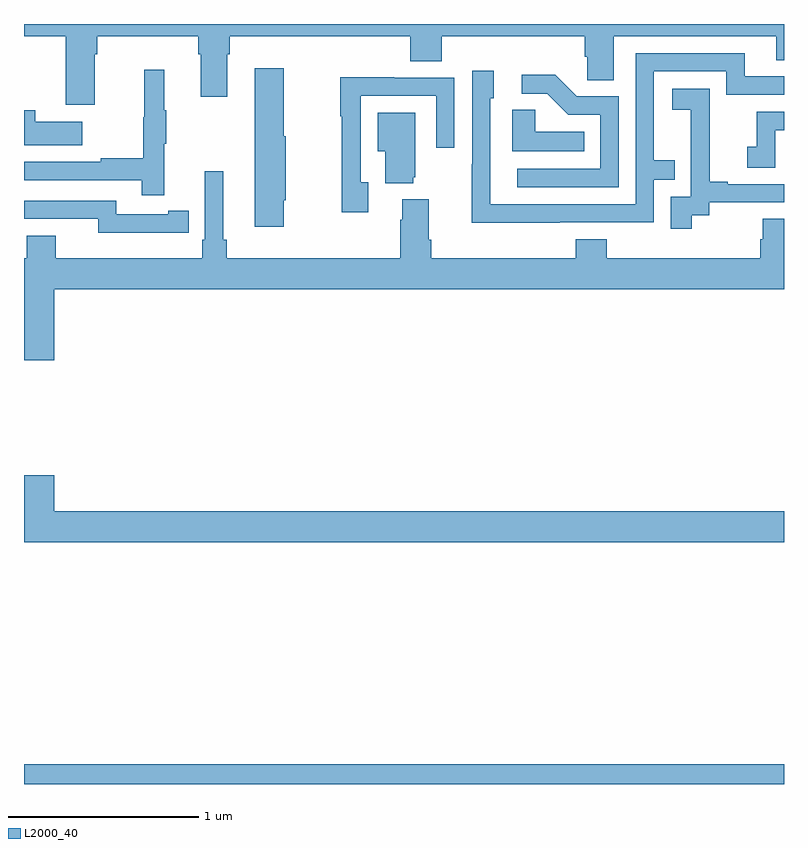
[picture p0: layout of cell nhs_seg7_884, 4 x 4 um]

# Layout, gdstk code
import gdstk
lib = gdstk.Library(unit=1e-6, precision=1e-09)
def R(c, l, rs):  # rectangles x0, y0, x1, y1
    for r in rs: c.add(gdstk.rectangle(r[:2], r[2:], *l))
def P(c, l, *ps):  # polygons
    for p in ps: c.add(gdstk.Polygon(p, *l))
L2000_40 = (2000, 40)

nhs_seg7_884 = lib.new_cell('nhs_seg7_884')
R(nhs_seg7_884, L2000_40, [(177,1010,181,1010.104)])
P(nhs_seg7_884, L2000_40, [(180.959,1013.809),(181,1013.809),(181,1014),(177,1014),(177,1013.936),(177.221,1013.936),(177.221,1013.574),(177.373,1013.574),(177.373,1013.84),(177.386,1013.84),(177.386,1013.936),(177.917,1013.936),(177.917,1013.84),(177.929,1013.84),(177.929,1013.616),(178.069,1013.616),(178.069,1013.84),(178.082,1013.84),(178.082,1013.936),(179.033,1013.936),(179.033,1013.803),(179.198,1013.803),(179.198,1013.936),(179.951,1013.936),(179.951,1013.827),(179.964,1013.827),(179.964,1013.704),(180.103,1013.704),(180.103,1013.936),(180.959,1013.936)],
  [(179.819,1012.956),(180.315,1012.956),(180.315,1013.181),(180.425,1013.181),(180.425,1013.282),(180.315,1013.282),(180.315,1013.751),(180.696,1013.751),(180.696,1013.628),(181,1013.628),(181,1013.724),(180.793,1013.724),(180.793,1013.847),(180.219,1013.847),(180.219,1013.052),(179.454,1013.052),(179.454,1013.61),(179.473,1013.61),(179.473,1013.755),(179.358,1013.755),(179.358,1013.261),(179.356,1013.261),(179.356,1012.955),(179.819,1012.955)],
  [(178.368,1013.073),(178.378,1013.073),(178.378,1013.409),(178.368,1013.409),(178.368,1013.767),(178.214,1013.767),(178.214,1012.932),(178.368,1012.932)],
  [(177.737,1013.371),(177.748,1013.371),(177.748,1013.545),(177.737,1013.545),(177.737,1013.758),(177.634,1013.758),(177.634,1013.508),(177.627,1013.508),(177.627,1013.294),(177.403,1013.294),(177.403,1013.274),(177,1013.274),(177,1013.178),(177.619,1013.178),(177.619,1013.1),(177.737,1013.1)],
  [(180.129,1013.619),(179.91,1013.619),(179.797,1013.732),(179.619,1013.732),(179.619,1013.634),(179.753,1013.634),(179.864,1013.523),(180.033,1013.523),(180.033,1013.238),(179.595,1013.238),(179.595,1013.142),(180.129,1013.142)],
  [(178.813,1013.166),(178.773,1013.166),(178.773,1013.622),(179.169,1013.622),(179.169,1013.349),(179.265,1013.349),(179.265,1013.718),(178.949,1013.718),(178.949,1013.72),(178.665,1013.72),(178.665,1013.515),(178.672,1013.515),(178.672,1013.01),(178.813,1013.01)],
  [(180.514,1012.993),(180.606,1012.993),(180.606,1013.061),(181,1013.061),(181,1013.157),(180.703,1013.157),(180.703,1013.17),(180.608,1013.17),(180.608,1013.453),(180.609,1013.453),(180.609,1013.659),(180.411,1013.659),(180.411,1013.549),(180.509,1013.549),(180.509,1013.321),(180.51,1013.321),(180.51,1013.091),(180.405,1013.091),(180.405,1012.923),(180.514,1012.923)],
  [(179.948,1013.434),(179.691,1013.434),(179.691,1013.549),(179.57,1013.549),(179.57,1013.33),(179.948,1013.33)],
  [(177.307,1013.485),(177.059,1013.485),(177.059,1013.545),(177,1013.545),(177,1013.363),(177.307,1013.363)],
  [(180.954,1013.442),(181,1013.442),(181,1013.538),(180.856,1013.538),(180.856,1013.353),(180.807,1013.353),(180.807,1013.244),(180.954,1013.244)],
  [(179.048,1013.193),(179.059,1013.193),(179.059,1013.533),(178.862,1013.533),(178.862,1013.33),(178.901,1013.33),(178.901,1013.162),(179.048,1013.162)],
  [(177.16,1012.604),(181,1012.604),(181,1012.976),(180.887,1012.976),(180.887,1012.866),(180.875,1012.866),(180.875,1012.768),(180.068,1012.768),(180.068,1012.867),(179.903,1012.867),(179.903,1012.768),(179.144,1012.768),(179.144,1012.864),(179.131,1012.864),(179.131,1013.077),(178.991,1013.077),(178.991,1012.97),(178.979,1012.97),(178.979,1012.768),(178.067,1012.768),(178.067,1012.864),(178.048,1012.864),(178.048,1013.224),(177.951,1013.224),(177.951,1012.864),(177.938,1012.864),(177.938,1012.768),(177.166,1012.768),(177.166,1012.885),(177.014,1012.885),(177.014,1012.768),(177,1012.768),(177,1012.23),(177.16,1012.23)],
  [(177.758,1012.902),(177.866,1012.902),(177.866,1013.018),(177.758,1013.018),(177.758,1012.998),(177.486,1012.998),(177.486,1013.07),(177,1013.07),(177,1012.974),(177.39,1012.974),(177.39,1012.901),(177.758,1012.901)],
  [(181,1011.436),(177.16,1011.436),(177.16,1011.625),(177,1011.625),(177,1011.272),(181,1011.272)])

lib.write_gds('nhs_seg7_884.gds')
